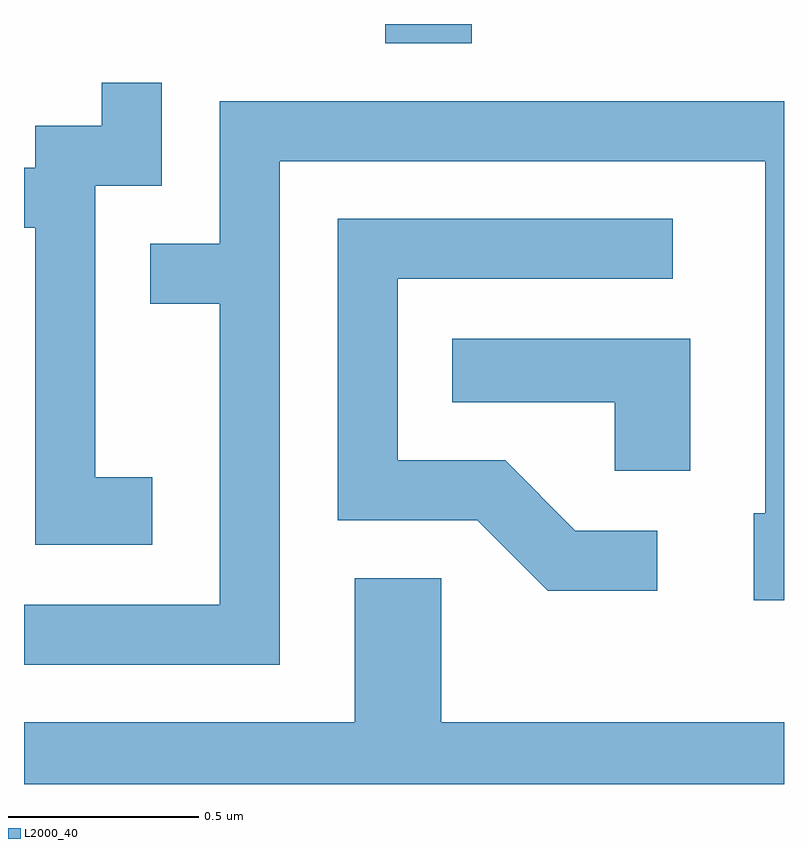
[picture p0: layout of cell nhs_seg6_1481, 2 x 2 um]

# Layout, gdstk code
import gdstk
lib = gdstk.Library(unit=1e-6, precision=1e-09)
def R(c, l, rs):  # rectangles x0, y0, x1, y1
    for r in rs: c.add(gdstk.rectangle(r[:2], r[2:], *l))
def P(c, l, *ps):  # polygons
    for p in ps: c.add(gdstk.Polygon(p, *l))
L2000_40 = (2000, 40)

nhs_seg6_1481 = lib.new_cell('nhs_seg6_1481')
R(nhs_seg6_1481, L2000_40, [(196.561,1643.111,196.789,1643.162)])
P(nhs_seg6_1481, L2000_40, [(195.949,1641.969),(195.799,1641.969),(195.799,1642.736),(195.974,1642.736),(195.974,1643.008),(195.816,1643.008),(195.816,1642.894),(195.641,1642.894),(195.641,1642.784),(195.611,1642.784),(195.611,1642.626),(195.641,1642.626),(195.641,1641.791),(195.949,1641.791)],
  [(196.284,1642.801),(197.561,1642.801),(197.561,1641.874),(197.531,1641.874),(197.531,1641.646),(197.611,1641.646),(197.611,1642.959),(196.126,1642.959),(196.126,1642.584),(195.943,1642.584),(195.943,1642.426),(196.126,1642.426),(196.126,1641.634),(195.611,1641.634),(195.611,1641.476),(196.284,1641.476)],
  [(197.278,1641.829),(197.062,1641.829),(196.877,1642.014),(196.594,1642.014),(196.594,1642.491),(197.318,1642.491),(197.318,1642.649),(196.436,1642.649),(196.436,1641.856),(196.804,1641.856),(196.989,1641.671),(197.278,1641.671)],
  [(197.364,1642.334),(196.738,1642.334),(196.738,1642.166),(197.166,1642.166),(197.166,1641.986),(197.364,1641.986)],
  [(197.611,1641.324),(196.709,1641.324),(196.709,1641.704),(196.481,1641.704),(196.481,1641.324),(195.611,1641.324),(195.611,1641.162),(197.611,1641.162)])

lib.write_gds('nhs_seg6_1481.gds')
